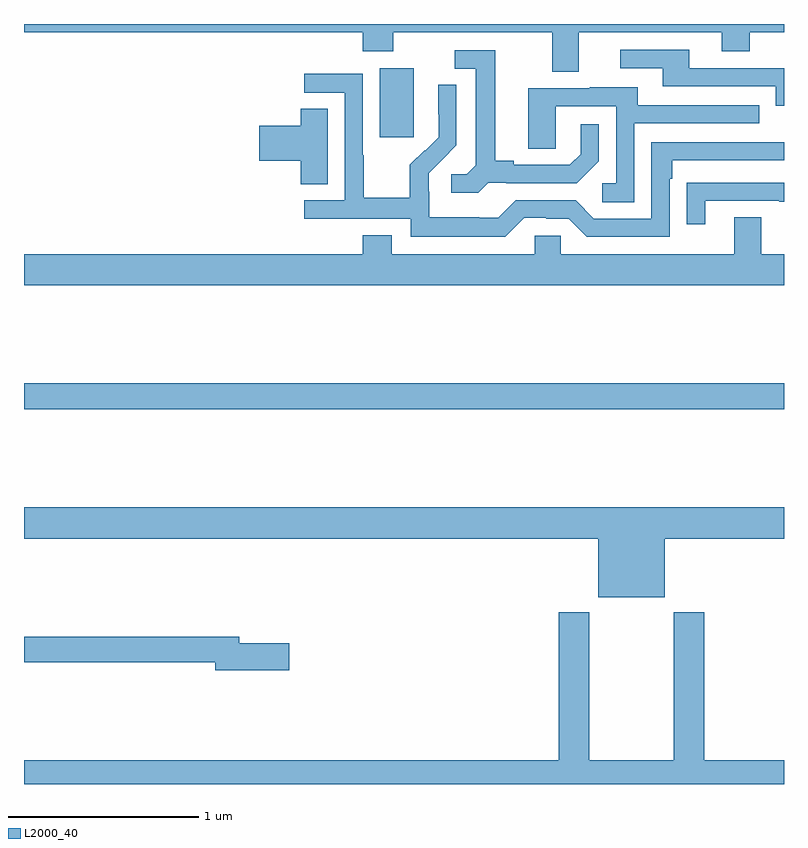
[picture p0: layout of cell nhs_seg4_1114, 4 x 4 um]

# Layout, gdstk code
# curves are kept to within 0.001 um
import gdstk
lib = gdstk.Library(unit=1e-6, precision=1e-09)
def R(c, l, rs):  # rectangles x0, y0, x1, y1
    for r in rs: c.add(gdstk.rectangle(r[:2], r[2:], *l))
def P(c, l, *ps):  # polygons
    for p in ps: c.add(gdstk.Polygon(p, *l))
L2000_40 = (2000, 40)

nhs_seg4_1114 = lib.new_cell('nhs_seg4_1114')
R(nhs_seg4_1114, L2000_40, [(169,758.872,173,759.008), (170.873,760.305,171.052,760.666)])
P(nhs_seg4_1114, L2000_40, [(171.919,760.856),(172.673,760.856),(172.673,760.757),(172.821,760.757),(172.821,760.856),(173,760.856),(173,760.9),(169,760.9),(169,760.856),(170.783,760.856),(170.783,760.757),(170.943,760.757),(170.943,760.856),(171.779,760.856),(171.779,760.648),(171.919,760.648)],
  [(173,760.668),(172.501,760.668),(172.501,760.764),(172.137,760.764),(172.137,760.668),(172.361,760.668),(172.361,760.572),(172.956,760.572),(172.956,760.469),(173,760.469)],
  [(171.444,760.065),(171.538,760.065),(171.538,760.062),(171.91,760.062),(172.026,760.178),(172.026,760.372),(171.929,760.372),(171.929,760.215),(171.872,760.158),(171.577,760.158),(171.577,760.181),(171.481,760.181),(171.481,760.761),(171.267,760.761),(171.267,760.665),(171.377,760.665),(171.377,760.157),(171.33,760.11),(171.249,760.11),(171.249,760.013),(171.392,760.013)],
  [(171.633,759.879),(171.749,759.879),(171.749,759.876),(171.867,759.876),(171.963,759.78),(172.398,759.78),(172.398,760.085),(172.411,760.085),(172.411,760.182),(173,760.182),(173,760.278),(172.302,760.278),(172.302,759.876),(171.999,759.876),(171.903,759.972),(171.588,759.972),(171.495,759.879),(171.395,759.879),(171.395,759.883),(171.132,759.883),(171.132,760.017),(171.13,760.017),(171.13,760.114),(171.276,760.262),(171.276,760.58),(171.18,760.58),(171.18,760.426),(171.182,760.426),(171.182,760.304),(171.111,760.233),(171.108,760.236),(171.031,760.159),(171.031,759.985),(170.787,759.985),(170.787,760.208),(170.784,760.208),(170.784,760.638),(170.475,760.638),(170.475,760.539),(170.688,760.539),(170.688,759.972),(170.475,759.972),(170.475,759.876),(171.036,759.876),(171.036,759.779),(171.533,759.779)],
  [(172.212,760.377),(172.871,760.377),(172.871,760.473),(172.231,760.473),(172.231,760.567),(171.977,760.567),(171.977,760.563),(171.653,760.563),(171.653,760.243),(171.798,760.243),(171.798,760.467),(172.116,760.467),(172.116,760.062),(172.044,760.062),(172.044,759.961),(172.212,759.961)],
  [(170.599,760.454),(170.456,760.454),(170.456,760.364),(170.238,760.364),(170.238,760.181),(170.456,760.181),(170.456,760.057),(170.599,760.057)],
  [(172.585,759.969),(172.975,759.969),(172.975,759.964),(173,759.964),(173,760.065),(172.591,760.065),(172.591,760.064),(172.489,760.064),(172.489,759.846),(172.585,759.846)],
  [(173,759.688),(172.879,759.688),(172.879,759.883),(172.739,759.883),(172.739,759.688),(171.825,759.688),(171.825,759.786),(171.687,759.786),(171.687,759.688),(170.935,759.688),(170.935,759.787),(170.783,759.787),(170.783,759.688),(169,759.688),(169,759.524),(173,759.524)],
  [(172.372,758.192),(173,758.192),(173,758.356),(169,758.356),(169,758.192),(172.022,758.192),(172.022,757.883),(172.372,757.883)],
  [(173,757.024),(172.58,757.024),(172.58,757.804),(172.42,757.804),(172.42,757.024),(171.975,757.024),(171.975,757.804),(171.815,757.804),(171.815,757.024),(169,757.024),(169,756.9),(173,756.9)],
  [(170.395,757.64),(170.134,757.64),(170.134,757.676),(169,757.676),(169,757.54),(170.006,757.54),(170.006,757.498),(170.395,757.498)])

lib.write_gds('nhs_seg4_1114.gds')
